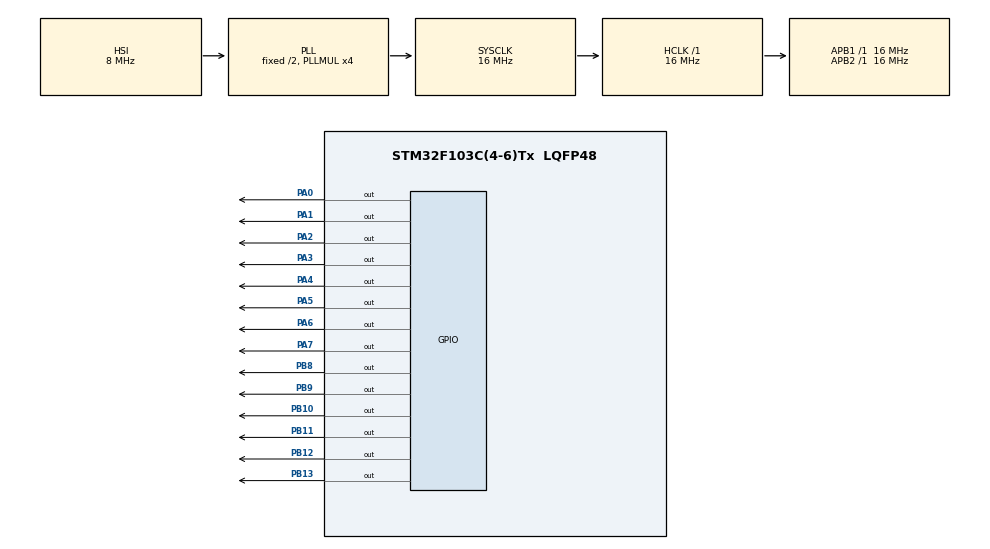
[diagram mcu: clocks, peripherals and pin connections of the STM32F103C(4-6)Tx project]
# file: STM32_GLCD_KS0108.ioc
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Mcu.Family=STM32F1
Mcu.Name=STM32F103C(4-6)Tx
Mcu.Package=LQFP48
NVIC.PriorityGroup=NVIC_PRIORITYGROUP_4
PA0-WKUP.Signal=GPIO_Output
PA1.Signal=GPIO_Output
PA2.Signal=GPIO_Output
PA3.Signal=GPIO_Output
PA4.Signal=GPIO_Output
PA5.Signal=GPIO_Output
PA6.Signal=GPIO_Output
PA7.Signal=GPIO_Output
PB10.Signal=GPIO_Output
PB11.Signal=GPIO_Output
PB12.Signal=GPIO_Output
PB13.Signal=GPIO_Output
PB8.Signal=GPIO_Output
PB9.Signal=GPIO_Output
ProjectManager.HeapSize=0x200
ProjectManager.StackSize=0x400
ProjectManager.TargetToolchain=STM32CubeIDE
RCC.AHBFreq_Value=16000000
RCC.APB1Freq_Value=16000000
RCC.APB1TimFreq_Value=16000000
RCC.APB2Freq_Value=16000000
RCC.APB2TimFreq_Value=16000000
RCC.HCLKFreq_Value=16000000
RCC.PLLMUL=RCC_PLL_MUL4
RCC.SYSCLKFreq_VALUE=16000000
RCC.SYSCLKSource=RCC_SYSCLKSOURCE_PLLCLK
RCC.USBFreq_Value=16000000
VP_SYS_VS_ND.Mode=No_Debug
board=custom

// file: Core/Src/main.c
/* USER CODE BEGIN Header */
/**
  ******************************************************************************
  * @file           : main.c
  * @brief          : Main program body
  ******************************************************************************
  * @attention
  *
  * Copyright (c) 2024 STMicroelectronics.
  * All rights reserved.
  *
  * This software is licensed under terms that can be found in the LICENSE file
  * in the root directory of this software component.
  * If no LICENSE file comes with this software, it is provided AS-IS.
  *
  ******************************************************************************
  */
/* USER CODE END Header */
#include "main.h"

/* USER CODE BEGIN Includes */
#include "KS0108.h"
#include "Fonts11x13.h"
#include "Fonts27x28.h"
#include <math.h>

/* USER CODE END Includes */

/* USER CODE BEGIN PV */
const char txt1[]  = "THE ";
const char txt2[]  = "EMBEDDED ";
const char txt3[]  = "THINGS ";
const char txt4[]  = "LIKE && SUB";
uint8_t width = 129;
uint8_t height = 64;
enum PrintMode_t mode =  GLCD_Merge;// GLCD_Overwrite; // or GLCD_Merge
enum Color_t     color=  GLCD_Black;// GLCD_Overwrite; // or GLCD_Merge
/* USER CODE END PV */

void SystemClock_Config(void);
static void MX_GPIO_Init(void);

/* USER CODE BEGIN 0 */
// this file generated by Image2GLCD
const unsigned char img[1024] = {
0x00, 0x00, 0x00, 0x00, 0x00, 0x00, 0x00, 0x00, 0x00, 0x00, 0x00, 0x00, 0x00, 0x00, 0x80, 0x80,
0xC0, 0xE0, 0xE0, 0xF0, 0xF0, 0xF8, 0xFC, 0xFC, 0xFE, 0x7F, 0x3F, 0x3F, 0x3F, 0x3F, 0x3F, 0x3F,
0x3F, 0xBF, 0xBF, 0xBF, 0xFF, 0xFF, 0xFF, 0xFF, 0xFF, 0xFF, 0xFF, 0xFF, 0xFF, 0xFF, 0xFF, 0xFE,
0xFE, 0xFE, 0xFE, 0xFE, 0xFE, 0xFE, 0xFE, 0xFE, 0xFE, 0xFE, 0xFE, 0xFE, 0xFE, 0xFE, 0xFE, 0xFE,
0xFE, 0xFE, 0xFE, 0xFE, 0xFE, 0xFE, 0xFE, 0xFE, 0xFE, 0xFE, 0xFE, 0xFE, 0xFE, 0xFE, 0xFE, 0xFE,
0xFE, 0xFE, 0xBE, 0xBE, 0x3E, 0x3E, 0x3E, 0x3E, 0x3E, 0x3E, 0xFE, 0xFE, 0xFE, 0xFE, 0xFE, 0xFE,
0xFE, 0xFE, 0xFE, 0xFE, 0xFE, 0xFE, 0xFE, 0xFE, 0xFE, 0xFE, 0xFC, 0xFC, 0xF8, 0xF0, 0xF0, 0xE0,
0xC0, 0xC0, 0x80, 0x00, 0x00, 0x00, 0x00, 0x00, 0x00, 0x00, 0x00, 0x00, 0x00, 0x00, 0x00, 0x00,
0x00, 0x00, 0x80, 0xC0, 0xC0, 0xE0, 0xE0, 0xF0, 0xF8, 0xF8, 0xFC, 0xFE, 0xFE, 0x7F, 0x7F, 0x3F,
0x1F, 0x1F, 0x0F, 0x07, 0x07, 0x03, 0xC1, 0xE1, 0xF0, 0xF0, 0xF8, 0xFC, 0xFC, 0xFE, 0xFE, 0xFF,
0xFF, 0xFF, 0xFF, 0xFF, 0xFF, 0xFF, 0xFF, 0x3F, 0x1F, 0x0F, 0x07, 0x07, 0x03, 0x03, 0x03, 0x03,
0x01, 0x01, 0x01, 0x01, 0x01, 0x00, 0x00, 0x00, 0x00, 0x00, 0x00, 0x00, 0x00, 0x00, 0x00, 0x00,
0x00, 0x00, 0x00, 0x00, 0x00, 0x00, 0x00, 0x01, 0x01, 0x01, 0x01, 0x03, 0x03, 0x03, 0x07, 0x07,
0x0F, 0x1F, 0x7F, 0xFF, 0xFF, 0xFE, 0xFE, 0xFC, 0xFC, 0xFF, 0xFF, 0xFF, 0xFF, 0xFF, 0xFF, 0xFF,
0xFF, 0xFF, 0xFF, 0xFF, 0xFF, 0xFF, 0xFF, 0xFF, 0x00, 0x01, 0x01, 0x03, 0x03, 0x07, 0x0F, 0x0F,
0x1F, 0x3F, 0x3F, 0x7F, 0xFF, 0xFE, 0xFC, 0xFC, 0xF8, 0xF0, 0xF0, 0xE0, 0xC0, 0xC0, 0x80, 0x00,

0x00, 0x01, 0x03, 0x07, 0x07, 0x0F, 0x1F, 0x3F, 0x7F, 0x7F, 0xFF, 0xFF, 0xFE, 0xFC, 0xF8, 0xF0,
0xF0, 0xE0, 0xC0, 0x80, 0xFC, 0xFF, 0xFF, 0xFF, 0xFF, 0xFF, 0xFF, 0xFF, 0xFF, 0xFF, 0xFF, 0xFF,
0xFF, 0xFF, 0xFF, 0xFF, 0xFF, 0xFF, 0xFF, 0xFE, 0xFC, 0xFC, 0xF8, 0xF8, 0xF8, 0xF8, 0xF0, 0xF0,
0xF0, 0xF0, 0xF0, 0xF0, 0xF0, 0xF0, 0xF0, 0xF0, 0xF0, 0xF0, 0xF0, 0xF0, 0xF0, 0xF0, 0xE0, 0xE0,
0xE0, 0xE0, 0xE0, 0xE0, 0xE0, 0xE0, 0xE0, 0xE0, 0xE0, 0xE0, 0xE0, 0xE0, 0xE0, 0xE0, 0xE0, 0xE0,
0xE0, 0xE0, 0xE0, 0xE3, 0xE3, 0xC3, 0xC3, 0xC3, 0xC3, 0xC3, 0xC3, 0x83, 0x83, 0x83, 0x03, 0x03,
0x03, 0x03, 0x03, 0x03, 0x03, 0x03, 0x03, 0x03, 0x00, 0x00, 0x00, 0x00, 0x00, 0x80, 0xC0, 0xC0,
0xE0, 0xF0, 0xF8, 0xF8, 0xFC, 0xFE, 0xFF, 0x7F, 0x3F, 0x1F, 0x1F, 0x0F, 0x07, 0x03, 0x03, 0x01,
0x00, 0x00, 0x00, 0x00, 0x00, 0x00, 0x00, 0x00, 0x00, 0x00, 0x00, 0x01, 0x03, 0x03, 0x07, 0x0F,
0x1F, 0x3F, 0x3F, 0x7F, 0xFF, 0xFF, 0xFF, 0xFF, 0xFF, 0xFF, 0xDF, 0xFF, 0xBF, 0x3F, 0x7F, 0x7F,
0x7F, 0x7F, 0x7F, 0x7F, 0xFF, 0xFF, 0xFF, 0xFF, 0xFF, 0xFF, 0xFF, 0xFF, 0xFF, 0xFF, 0xFF, 0xFF,
0xFF, 0xFF, 0xFF, 0xFF, 0xFF, 0xFF, 0xFF, 0xFF, 0xFF, 0xFF, 0xFF, 0xFF, 0xFF, 0xFF, 0xFF, 0xFF,
0xFF, 0xFF, 0xFF, 0xFF, 0xFF, 0xFF, 0xFF, 0xFF, 0xFF, 0xFF, 0xFF, 0xFF, 0xFF, 0xFF, 0xFF, 0xFF,
0xFF, 0xFF, 0xFF, 0xFF, 0xFF, 0xFF, 0xFF, 0xFF, 0xFF, 0xFF, 0xFF, 0xFF, 0xFF, 0xFF, 0xFF, 0xFF,
0xFF, 0xFE, 0xFE, 0xFC, 0xF8, 0xE0, 0xF0, 0xF0, 0xF8, 0xFC, 0xFE, 0xFE, 0x7F, 0x3F, 0x1F, 0x1F,
0x0F, 0x07, 0x03, 0x03, 0x01, 0x00, 0x00, 0x00, 0x00, 0x00, 0x00, 0x00, 0x00, 0x00, 0x00, 0x00,

0x00, 0x00, 0x00, 0x00, 0x00, 0x00, 0x00, 0x00, 0x00, 0x00, 0x00, 0x00, 0x00, 0x00, 0x00, 0x00,
0x00, 0x00, 0x00, 0x00, 0x00, 0x01, 0x01, 0x03, 0x07, 0x0F, 0x1F, 0x1F, 0x3F, 0x7F, 0xFF, 0xFE,
0xFC, 0xFC, 0xF8, 0xF0, 0xE0, 0xE0, 0xC0, 0xC0, 0xE0, 0xE0, 0xE0, 0xF0, 0xF0, 0xF0, 0xF0, 0xF0,
0xF0, 0xF0, 0xF0, 0xF0, 0xF0, 0xE0, 0xE0, 0xE0, 0xE0, 0xE0, 0xC0, 0xC0, 0xC0, 0x80, 0x80, 0x00,
0x01, 0x01, 0x01, 0x01, 0x01, 0x01, 0x01, 0x01, 0x01, 0x01, 0x01, 0x01, 0x01, 0x01, 0x01, 0x01,
0x01, 0x01, 0x03, 0x83, 0x83, 0x83, 0xC7, 0xEF, 0xFF, 0xFF, 0xFF, 0xFF, 0xFF, 0xFF, 0xFF, 0xFF,
0xFF, 0x7F, 0x3F, 0x1F, 0x1F, 0x0F, 0x07, 0x03, 0x03, 0x01, 0x00, 0x00, 0x00, 0x00, 0x00, 0x00,
0x00, 0x00, 0x00, 0x00, 0x00, 0x00, 0x00, 0x00, 0x00, 0x00, 0x00, 0x00, 0x00, 0x00, 0x00, 0x00,
0x00, 0x00, 0x00, 0x00, 0x00, 0x00, 0x00, 0x00, 0x00, 0x00, 0x00, 0x00, 0x00, 0x00, 0x00, 0x00,
0x00, 0x00, 0x00, 0x00, 0x00, 0x00, 0x00, 0x00, 0x00, 0x00, 0x00, 0x00, 0x00, 0x00, 0x00, 0x00,
0x01, 0x03, 0x07, 0x0F, 0x0F, 0x1F, 0x3F, 0x7F, 0x7F, 0xFF, 0xFF, 0xFF, 0xFF, 0xFF, 0xFF, 0xFF,
0xDF, 0xDF, 0x9F, 0x1F, 0x3F, 0x3F, 0x3F, 0x3F, 0x3F, 0x3F, 0x3F, 0x3F, 0x3F, 0x7F, 0x7F, 0x7F,
0x7E, 0x7E, 0x7E, 0x7E, 0x7E, 0x3E, 0x3E, 0x3E, 0x3E, 0x3E, 0x3E, 0x3E, 0xBE, 0xDE, 0xDE, 0xFF,
0xFF, 0xFF, 0xFF, 0xFF, 0xFF, 0x7F, 0x7F, 0x3F, 0x1F, 0x1F, 0x0F, 0x07, 0x03, 0x03, 0x01, 0x00,
0x00, 0x00, 0x00, 0x00, 0x00, 0x00, 0x00, 0x00, 0x00, 0x00, 0x00, 0x00, 0x00, 0x00, 0x00, 0x00,
0x00, 0x00, 0x00, 0x00, 0x00, 0x00, 0x00, 0x00, 0x00, 0x00, 0x00, 0x00, 0x00, 0x00, 0x00, 0x00,

0x00, 0x00, 0x00, 0x00, 0x00, 0x00, 0x00, 0x00, 0x00, 0x00, 0x00, 0x00, 0x00, 0x00, 0x00, 0x00,
0x00, 0x00, 0x00, 0x00, 0x00, 0x00, 0x00, 0x00, 0x00, 0x00, 0x00, 0x00, 0x00, 0x00, 0x00, 0x00,
0x00, 0x00, 0x00, 0x00, 0x00, 0x00, 0x00, 0x00, 0x00, 0x00, 0x01, 0x03, 0x07, 0x07, 0x0F, 0x1F,
0x3F, 0x3F, 0x7F, 0xFF, 0xFF, 0xFE, 0xFC, 0xF8, 0xF8, 0xF0, 0xE0, 0xC0, 0xC0, 0x80, 0x00, 0x00,
0x80, 0xC0, 0xC0, 0xE0, 0xF0, 0xF0, 0xF8, 0xFC, 0xFC, 0xFE, 0x7F, 0x7F, 0x3F, 0x1F, 0x1F, 0x0F,
0x07, 0x03, 0x03, 0x01, 0x00, 0x00, 0x00, 0x00, 0x00, 0x00, 0x00, 0x00, 0x00, 0x00, 0x00, 0x00,
0x00, 0x00, 0x00, 0x00, 0x00, 0x00, 0x00, 0x00, 0x00, 0x00, 0x00, 0x00, 0x00, 0x00, 0x00, 0x00,
0x00, 0x00, 0x00, 0x00, 0x00, 0x00, 0x00, 0x00, 0x00, 0x00, 0x00, 0x00, 0x00, 0x00, 0x00, 0x00,
0x00, 0x00, 0x00, 0x00, 0x00, 0x00, 0x00, 0x00, 0x00, 0x00, 0x00, 0x00, 0x00, 0x00, 0x00, 0x00,
0x00, 0x00, 0x00, 0x00, 0x00, 0x00, 0x00, 0x00, 0x00, 0x00, 0x00, 0x00, 0x00, 0x00, 0x00, 0x00,
0x00, 0x00, 0x00, 0x00, 0x00, 0x00, 0x00, 0x00, 0x00, 0x00, 0x00, 0x00, 0x00, 0x00, 0x00, 0x00,
0x00, 0x00, 0x00, 0x00, 0x01, 0x03, 0x03, 0x07, 0x0F, 0x1F, 0x1F, 0x3F, 0x7F, 0xFF, 0xFF, 0x7F,
0x7F, 0x3F, 0x1F, 0x1F, 0x0F, 0x07, 0x03, 0x03, 0x01, 0x00, 0x00, 0x00, 0x00, 0x00, 0x00, 0x00,
0x00, 0x00, 0x00, 0x00, 0x00, 0x00, 0x00, 0x00, 0x00, 0x00, 0x00, 0x00, 0x00, 0x00, 0x00, 0x00,
0x00, 0x00, 0x00, 0x00, 0x00, 0x00, 0x00, 0x00, 0x00, 0x00, 0x00, 0x00, 0x00, 0x00, 0x00, 0x00,
0x00, 0x00, 0x00, 0x00, 0x00, 0x00, 0x00, 0x00, 0x00, 0x00, 0x00, 0x00, 0x00, 0x00, 0x00, 0x00

};

/* USER CODE END 0 */

int main(void)
{

  /* MCU Configuration--------------------------------------------------------*/

  /* Reset of all peripherals, Initializes the Flash interface and the Systick. */
  HAL_Init();

  /* Configure the system clock */
  SystemClock_Config();

  /* Initialize all configured peripherals */
  MX_GPIO_Init();
  /* USER CODE BEGIN 2 */
  GLCD_Setup();
  GLCD_Clear();
  GLCD_DrawBitmap(img, width, height, mode);
  GLCD_Render();
  HAL_Delay(2000);
  GLCD_InvertMode(); //Inverted mode
  GLCD_Render();
  HAL_Delay(2000);
  /* USER CODE END 2 */

  /* Infinite loop */
  while (1)
  {

    /* USER CODE BEGIN 3 */
    GLCD_Clear();
    GLCD_SetFont(Font_27x28, 27, 28, mode);

    GLCD_GotoXY(32, 1);
    GLCD_PrintString_P(txt1); //Print text #1

    GLCD_SetFont(Font_11x13, 11, 13, mode);
    GLCD_GotoXY(38, 22);
    GLCD_PrintString_P(txt2);     //Print text #2

    GLCD_SetFont(Font_27x28, 27, 28, mode);

    GLCD_GotoXY(5, 31);
    GLCD_PrintString_P(txt3);     //Print text #3

    GLCD_DrawRoundRectangle(1, 1, 126, 62, 5, color);     //Draw outline
    GLCD_Render();

    GLCD_Clear();
    HAL_Delay(2000);
    GLCD_DrawLine(10, 10, 50, 50, color);
    GLCD_Render();

    GLCD_Clear();
    GLCD_DrawRectangle(20, 20, 40, 40, color);
    GLCD_Render();

    GLCD_Clear();
    GLCD_DrawRoundRectangle(30, 30, 60, 60, 5, color);
    GLCD_Render();

    GLCD_Clear();
    GLCD_DrawTriangle(10, 20, 60, 30, 60, 50, color);
    GLCD_Render();

    GLCD_Clear();
    for(int i=5 ;i<30 ;i=i+5)

    {
    GLCD_DrawCircle(64, 32, i, color);
    GLCD_Render();
    }

    GLCD_Clear();
    GLCD_FillScreen(color);
    GLCD_Render();

    GLCD_Clear();
    GLCD_FillRectangle(1,1, 40, 32, color);
    GLCD_Render();
    HAL_Delay(1000);

    GLCD_Clear();
    GLCD_FillRoundRectangle(10, 10, 40, 40, 5, color);
    GLCD_Render();
    HAL_Delay(1000);

    GLCD_Clear();
    GLCD_FillTriangle(10, 20, 60, 30, 60, 50, color);
    GLCD_Render();

    GLCD_Clear();
    GLCD_FillCircle(64, 30, 30, color);
    GLCD_Render();
  }
  /* USER CODE END 3 */
}

void SystemClock_Config(void)
{
  RCC_OscInitTypeDef RCC_OscInitStruct = {0};
  RCC_ClkInitTypeDef RCC_ClkInitStruct = {0};

  /** Initializes the RCC Oscillators according to the specified parameters
  * in the RCC_OscInitTypeDef structure.
  */
  RCC_OscInitStruct.OscillatorType = RCC_OSCILLATORTYPE_HSI;
  RCC_OscInitStruct.HSIState = RCC_HSI_ON;
  RCC_OscInitStruct.HSICalibrationValue = RCC_HSICALIBRATION_DEFAULT;
  RCC_OscInitStruct.PLL.PLLState = RCC_PLL_ON;
  RCC_OscInitStruct.PLL.PLLSource = RCC_PLLSOURCE_HSI_DIV2;
  RCC_OscInitStruct.PLL.PLLMUL = RCC_PLL_MUL4;
  if (HAL_RCC_OscConfig(&RCC_OscInitStruct) != HAL_OK)
  {
    Error_Handler();
  }

  /** Initializes the CPU, AHB and APB buses clocks
  */
  RCC_ClkInitStruct.ClockType = RCC_CLOCKTYPE_HCLK|RCC_CLOCKTYPE_SYSCLK
                              |RCC_CLOCKTYPE_PCLK1|RCC_CLOCKTYPE_PCLK2;
  RCC_ClkInitStruct.SYSCLKSource = RCC_SYSCLKSOURCE_PLLCLK;
  RCC_ClkInitStruct.AHBCLKDivider = RCC_SYSCLK_DIV1;
  RCC_ClkInitStruct.APB1CLKDivider = RCC_HCLK_DIV1;
  RCC_ClkInitStruct.APB2CLKDivider = RCC_HCLK_DIV1;

  if (HAL_RCC_ClockConfig(&RCC_ClkInitStruct, FLASH_LATENCY_0) != HAL_OK)
  {
    Error_Handler();
  }
}

static void MX_GPIO_Init(void)
{
  GPIO_InitTypeDef GPIO_InitStruct = {0};

  /* GPIO Ports Clock Enable */
  __HAL_RCC_GPIOA_CLK_ENABLE();
  __HAL_RCC_GPIOB_CLK_ENABLE();

  /*Configure GPIO pin Output Level */
  HAL_GPIO_WritePin(GPIOA, GPIO_PIN_0|GPIO_PIN_1|GPIO_PIN_2|GPIO_PIN_3
                          |GPIO_PIN_4|GPIO_PIN_5|GPIO_PIN_6|GPIO_PIN_7, GPIO_PIN_RESET);

  /*Configure GPIO pin Output Level */
  HAL_GPIO_WritePin(GPIOB, GPIO_PIN_10|GPIO_PIN_11|GPIO_PIN_12|GPIO_PIN_13
                          |GPIO_PIN_8|GPIO_PIN_9, GPIO_PIN_RESET);

  /*Configure GPIO pins : PA0 PA1 PA2 PA3
                           PA4 PA5 PA6 PA7 */
  GPIO_InitStruct.Pin = GPIO_PIN_0|GPIO_PIN_1|GPIO_PIN_2|GPIO_PIN_3
                          |GPIO_PIN_4|GPIO_PIN_5|GPIO_PIN_6|GPIO_PIN_7;
  GPIO_InitStruct.Mode = GPIO_MODE_OUTPUT_PP;
  GPIO_InitStruct.Pull = GPIO_NOPULL;
  GPIO_InitStruct.Speed = GPIO_SPEED_FREQ_LOW;
  HAL_GPIO_Init(GPIOA, &GPIO_InitStruct);

  /*Configure GPIO pins : PB10 PB11 PB12 PB13
                           PB8 PB9 */
  GPIO_InitStruct.Pin = GPIO_PIN_10|GPIO_PIN_11|GPIO_PIN_12|GPIO_PIN_13
                          |GPIO_PIN_8|GPIO_PIN_9;
  GPIO_InitStruct.Mode = GPIO_MODE_OUTPUT_PP;
  GPIO_InitStruct.Pull = GPIO_NOPULL;
  GPIO_InitStruct.Speed = GPIO_SPEED_FREQ_LOW;
  HAL_GPIO_Init(GPIOB, &GPIO_InitStruct);

}

void Error_Handler(void)
{
  __disable_irq();
  while (1)
  {
  }
}
